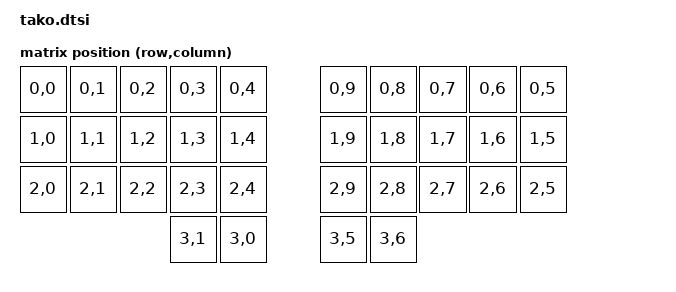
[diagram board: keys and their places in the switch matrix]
/*
 * Copyright (c) 2023 Sviatoslav Bulbakha
 *
 * SPDX-License-Identifier: MIT
 */

#include <dt-bindings/zmk/matrix_transform.h>

/ {
  chosen {
    zmk,matrix_transform = &default_transform;
    // zmk,physical-layout = &layout_0;
  };

  default_transform: keymap_transform_0 {
    compatible = "zmk,matrix-transform";
    columns = <10>;
    rows = <4>;
    map = <
    RC(0,0) RC(0,1) RC(0,2) RC(0,3) RC(0,4) RC(0,9) RC(0,8) RC(0,7) RC(0,6) RC(0,5)
    RC(1,0) RC(1,1) RC(1,2) RC(1,3) RC(1,4) RC(1,9) RC(1,8) RC(1,7) RC(1,6) RC(1,5)
    RC(2,0) RC(2,1) RC(2,2) RC(2,3) RC(2,4) RC(2,9) RC(2,8) RC(2,7) RC(2,6) RC(2,5)
    RC(3,1) RC(3,0) RC(3,5) RC(3,6)
    >;
  };
};

&i2c0 {
  status = "disabled";
};

&i2c1 {
  status = "disabled";
};

// do not know how it work and what are they used for, use with caution
/* zephyr_udc0: &usbd {
 *  //compatible = "nordic,nrf-usbd"; 
 *   status = "okay"; 
 * };
 */

/* &usbd {
 *   status = "okay";
 *   cdc_acm_uart: cdc_acm_uart {
 *       compatible = "zephyr,cdc-acm-uart";
 *   };
 * };
 */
